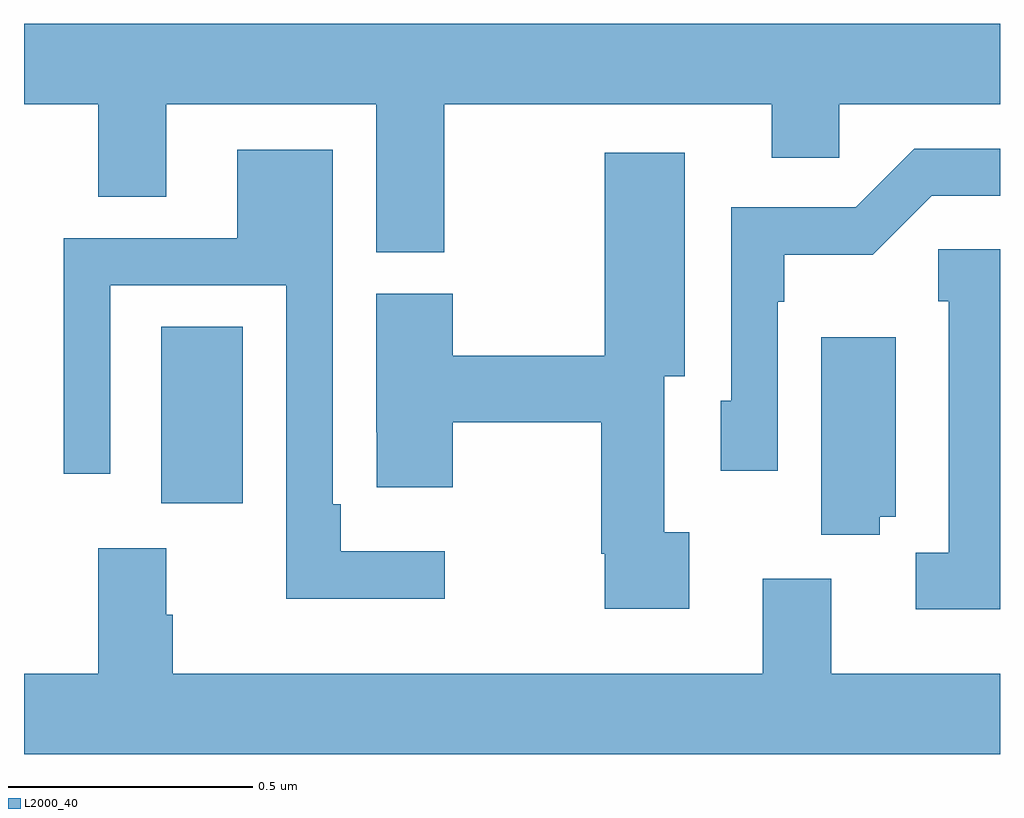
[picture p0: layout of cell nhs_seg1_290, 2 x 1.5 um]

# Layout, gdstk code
import gdstk
lib = gdstk.Library(unit=1e-6, precision=1e-09)
def R(c, l, rs):  # rectangles x0, y0, x1, y1
    for r in rs: c.add(gdstk.rectangle(r[:2], r[2:], *l))
def P(c, l, *ps):  # polygons
    for p in ps: c.add(gdstk.Polygon(p, *l))
L2000_40 = (2000, 40)

nhs_seg1_290 = lib.new_cell('nhs_seg1_290')
R(nhs_seg1_290, L2000_40, [(114.281,550.914,114.448,551.276)])
P(nhs_seg1_290, L2000_40, [(114.861,551.732),(115.532,551.732),(115.532,551.622),(115.671,551.622),(115.671,551.732),(116,551.732),(116,551.896),(114,551.896),(114,551.732),(114.152,551.732),(114.152,551.542),(114.292,551.542),(114.292,551.732),(114.722,551.732),(114.722,551.428),(114.861,551.428)],
  [(115.545,551.327),(115.558,551.327),(115.558,551.423),(115.739,551.423),(115.86,551.544),(116,551.544),(116,551.64),(115.824,551.64),(115.704,551.52),(115.449,551.52),(115.449,551.124),(115.428,551.124),(115.428,550.98),(115.545,550.98)],
  [(114.862,550.816),(114.649,550.816),(114.649,550.912),(114.633,550.912),(114.633,551.638),(114.437,551.638),(114.437,551.457),(114.081,551.457),(114.081,550.974),(114.177,550.974),(114.177,551.361),(114.537,551.361),(114.537,550.718),(114.862,550.718)],
  [(115.363,550.854),(115.312,550.854),(115.312,551.174),(115.354,551.174),(115.354,551.632),(115.19,551.632),(115.19,551.216),(114.879,551.216),(114.879,551.343),(114.722,551.343),(114.722,551.059),(114.723,551.059),(114.723,550.947),(114.879,550.947),(114.879,551.08),(115.183,551.08),(115.183,550.81),(115.19,550.81),(115.19,550.698),(115.363,550.698)],
  [(116,551.434),(115.873,551.434),(115.873,551.328),(115.895,551.328),(115.895,550.812),(115.827,550.812),(115.827,550.697),(116,550.697)],
  [(115.754,550.886),(115.786,550.886),(115.786,551.254),(115.634,551.254),(115.634,550.849),(115.754,550.849)],
  [(116,550.564),(115.654,550.564),(115.654,550.759),(115.514,550.759),(115.514,550.564),(114.305,550.564),(114.305,550.685),(114.292,550.685),(114.292,550.822),(114.152,550.822),(114.152,550.564),(114,550.564),(114,550.4),(116,550.4)])

lib.write_gds('nhs_seg1_290.gds')
